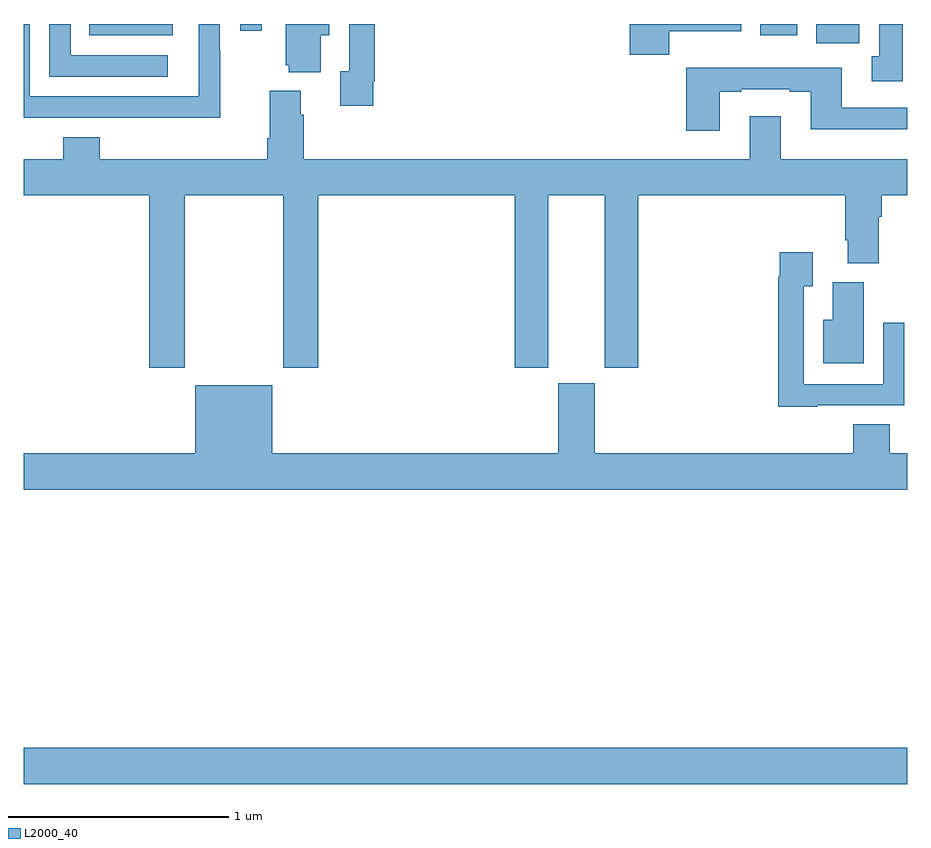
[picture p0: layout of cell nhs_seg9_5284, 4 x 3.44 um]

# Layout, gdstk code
import gdstk
lib = gdstk.Library(unit=1e-6, precision=1e-09)
def R(c, l, rs):  # rectangles x0, y0, x1, y1
    for r in rs: c.add(gdstk.rectangle(r[:2], r[2:], *l))
def P(c, l, *ps):  # polygons
    for p in ps: c.add(gdstk.Polygon(p, *l))
L2000_40 = (2000, 40)

nhs_seg9_5284 = lib.new_cell('nhs_seg9_5284')
R(nhs_seg9_5284, L2000_40, [(417,1223.06,421,1223.224), (420.587,1226.412,420.783,1226.5), (420.335,1226.448,420.502,1226.5), (417.298,1226.45,417.676,1226.5), (417.981,1226.469,418.077,1226.5)])
P(nhs_seg9_5284, L2000_40, [(417.891,1226.381),(417.888,1226.381),(417.888,1226.5),(417.792,1226.5),(417.792,1226.172),(417.027,1226.172),(417.027,1226.5),(417,1226.5),(417,1226.076),(417.427,1226.076),(417.427,1226.075),(417.891,1226.075)],
  [(420.979,1226.5),(420.872,1226.5),(420.872,1226.353),(420.839,1226.353),(420.839,1226.241),(420.979,1226.241)],
  [(419.922,1226.468),(420.247,1226.468),(420.247,1226.5),(419.744,1226.5),(419.744,1226.361),(419.922,1226.361)],
  [(418.345,1226.45),(418.384,1226.45),(418.384,1226.5),(418.187,1226.5),(418.187,1226.313),(418.199,1226.313),(418.199,1226.282),(418.345,1226.282)],
  [(418.582,1226.242),(418.589,1226.242),(418.589,1226.5),(418.473,1226.5),(418.473,1226.286),(418.433,1226.286),(418.433,1226.13),(418.582,1226.13)],
  [(417.652,1226.358),(417.213,1226.358),(417.213,1226.5),(417.117,1226.5),(417.117,1226.262),(417.652,1226.262)],
  [(420.151,1226.193),(420.247,1226.193),(420.247,1226.205),(420.467,1226.205),(420.467,1226.193),(420.563,1226.193),(420.563,1226.024),(421,1226.024),(421,1226.121),(420.703,1226.121),(420.703,1226.302),(419.999,1226.302),(419.999,1226.016),(420.151,1226.016)],
  [(417.729,1225.724),(418.174,1225.724),(418.174,1224.945),(418.334,1224.945),(418.334,1225.724),(419.222,1225.724),(419.222,1224.945),(419.374,1224.945),(419.374,1225.724),(419.63,1225.724),(419.63,1224.945),(419.783,1224.945),(419.783,1225.724),(420.719,1225.724),(420.719,1225.522),(420.731,1225.522),(420.731,1225.417),(420.871,1225.417),(420.871,1225.628),(420.884,1225.628),(420.884,1225.724),(421,1225.724),(421,1225.888),(420.427,1225.888),(420.427,1226.083),(420.287,1226.083),(420.287,1225.888),(418.268,1225.888),(418.268,1226.09),(418.255,1226.09),(418.255,1226.197),(418.115,1226.197),(418.115,1225.984),(418.103,1225.984),(418.103,1225.888),(417.344,1225.888),(417.344,1225.987),(417.179,1225.987),(417.179,1225.888),(417,1225.888),(417,1225.724),(417.569,1225.724),(417.569,1224.945),(417.729,1224.945)],
  [(420.591,1224.774),(420.987,1224.774),(420.987,1225.147),(420.891,1225.147),(420.891,1224.87),(420.531,1224.87),(420.531,1225.312),(420.571,1225.312),(420.571,1225.468),(420.423,1225.468),(420.423,1225.355),(420.415,1225.355),(420.415,1224.767),(420.591,1224.767)],
  [(420.802,1225.332),(420.662,1225.332),(420.662,1225.162),(420.62,1225.162),(420.62,1224.965),(420.802,1224.965)],
  [(421,1224.556),(420.92,1224.556),(420.92,1224.689),(420.755,1224.689),(420.755,1224.556),(419.584,1224.556),(419.584,1224.873),(419.42,1224.873),(419.42,1224.556),(418.126,1224.556),(418.126,1224.865),(417.776,1224.865),(417.776,1224.556),(417,1224.556),(417,1224.392),(421,1224.392)])

lib.write_gds('nhs_seg9_5284.gds')
